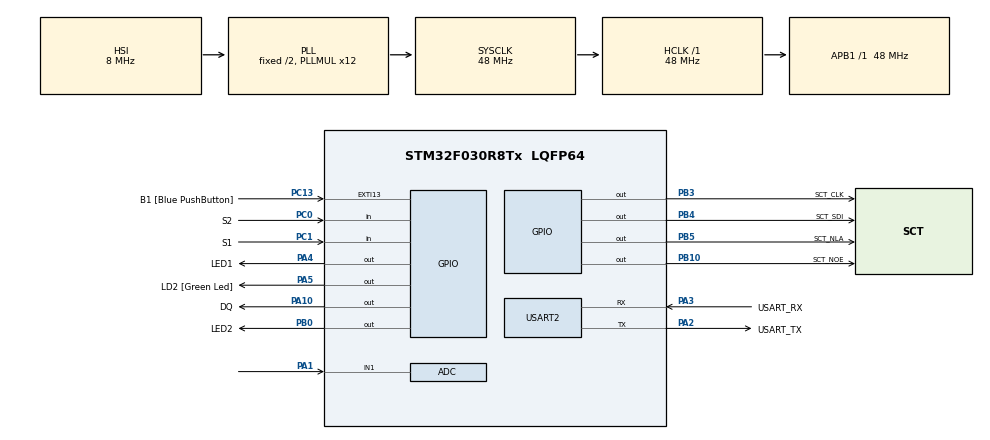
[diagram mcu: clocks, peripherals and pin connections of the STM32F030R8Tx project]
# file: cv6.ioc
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Mcu.Family=STM32F0
Mcu.Name=STM32F030R8Tx
Mcu.Package=LQFP64
PA1.Mode=IN1
PA1.Signal=ADC_IN1
PA10.GPIO_Label=DQ
PA10.GPIO_ModeDefaultOutputPP=GPIO_MODE_OUTPUT_OD
PA10.GPIO_PuPd=GPIO_NOPULL
PA10.PinState=GPIO_PIN_SET
PA10.Signal=GPIO_Output
PA13.GPIO_Label=TMS
PA13.Mode=Serial_Wire
PA13.Signal=SYS_SWDIO
PA14.GPIO_Label=TCK
PA14.Mode=Serial_Wire
PA14.Signal=SYS_SWCLK
PA2.GPIO_Label=USART_TX
PA2.GPIO_Mode=GPIO_MODE_AF_PP
PA2.GPIO_PuPd=GPIO_NOPULL
PA2.GPIO_Speed=GPIO_SPEED_FREQ_LOW
PA2.Mode=Asynchronous
PA2.Signal=USART2_TX
PA3.GPIO_Label=USART_RX
PA3.GPIO_Mode=GPIO_MODE_AF_PP
PA3.GPIO_PuPd=GPIO_NOPULL
PA3.GPIO_Speed=GPIO_SPEED_FREQ_LOW
PA3.Mode=Asynchronous
PA3.Signal=USART2_RX
PA4.GPIO_Label=LED1 
PA4.Signal=GPIO_Output
PA5.GPIO_Label=LD2 [Green Led]
PA5.GPIO_Mode=GPIO_MODE_OUTPUT_PP
PA5.GPIO_PuPd=GPIO_NOPULL
PA5.GPIO_Speed=GPIO_SPEED_FREQ_LOW
PA5.Signal=GPIO_Output
PB0.GPIO_Label=LED2
PB0.Signal=GPIO_Output
PB10.GPIO_Label=SCT_NOE
PB10.Signal=GPIO_Output
PB3.GPIO_Label=SCT_CLK
PB3.Signal=GPIO_Output
PB4.GPIO_Label=SCT_SDI
PB4.Signal=GPIO_Output
PB5.GPIO_Label=SCT_NLA
PB5.Signal=GPIO_Output
PC0.GPIO_Label=S2
PC0.GPIO_PuPd=GPIO_PULLUP
PC0.Signal=GPIO_Input
PC1.GPIO_Label=S1
PC1.GPIO_PuPd=GPIO_PULLUP
PC1.Signal=GPIO_Input
PC13.GPIO_Label=B1 [Blue PushButton]
PC13.GPIO_ModeDefaultEXTI=GPIO_MODE_IT_FALLING
PC13.Signal=GPXTI13
PC14-OSC32_IN.Mode=LSE-External-Oscillator
PC14-OSC32_IN.Signal=RCC_OSC32_IN
PC15-OSC32_OUT.Mode=LSE-External-Oscillator
PC15-OSC32_OUT.Signal=RCC_OSC32_OUT
PF0-OSC_IN.Mode=HSE-External-Clock-Source
PF0-OSC_IN.Signal=RCC_OSC_IN
PF1-OSC_OUT.Signal=RCC_OSC_OUT
ProjectManager.HeapSize=0x200
ProjectManager.StackSize=0x400
ProjectManager.TargetToolchain=STM32CubeIDE
RCC.AHBFreq_Value=48000000
RCC.APB1Freq_Value=48000000
RCC.APB1TimFreq_Value=48000000
RCC.HCLKFreq_Value=48000000
RCC.PLLMUL=RCC_PLL_MUL12
RCC.SYSCLKFreq_VALUE=48000000
RCC.SYSCLKSource=RCC_SYSCLKSOURCE_PLLCLK
USART2.VirtualMode-Asynchronous=VM_ASYNC
board=NUCLEO-F030R8

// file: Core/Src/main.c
/* USER CODE BEGIN Header */
/**
 ******************************************************************************
 * @file           : main.c
 * @brief          : Main program body
 ******************************************************************************
 * @attention
 *
 * Copyright (c) 2024 STMicroelectronics.
 * All rights reserved.
 *
 * This software is licensed under terms that can be found in the LICENSE file
 * in the root directory of this software component.
 * If no LICENSE file comes with this software, it is provided AS-IS.
 *
 ******************************************************************************
 */
/* USER CODE END Header */
#include "main.h"

/* USER CODE BEGIN Includes */
#include "1wire.h"
#include "sct.h"
/* USER CODE END Includes */

/* USER CODE BEGIN PD */
#define SAMPLE_TIME     5
#define TIME_WAIT     750
#define TIME_WAIT_DS  300
/* USER CODE END PD */

ADC_HandleTypeDef hadc;

UART_HandleTypeDef huart2;

/* USER CODE BEGIN PV */
static const int16_t data[] = {
#include "data.dlm"
};

static enum { SHOW_NTC, SHOW_DS} state = SHOW_NTC;
/* USER CODE END PV */

void SystemClock_Config(void);
static void MX_GPIO_Init(void);
static void MX_USART2_UART_Init(void);
static void MX_ADC_Init(void);

/* USER CODE BEGIN 0 */
static void button1_reg(void) {
	static uint32_t last_button_tick;
	uint32_t tick = HAL_GetTick();

	// Sampling button
	if (tick > last_button_tick + SAMPLE_TIME) {

		last_button_tick = tick;
		// Enter every 5ms
		static uint16_t debounce = 0xFFFF;

		uint32_t read_s1 = HAL_GPIO_ReadPin(S1_GPIO_Port, S1_Pin);

		debounce = debounce << 1;
		if (read_s1) debounce |= 0x0001;

		if (debounce == 0x8000) {
			state = SHOW_NTC;
			HAL_GPIO_WritePin(LED2_GPIO_Port, LED2_Pin, 1);
			HAL_GPIO_WritePin(LED1_GPIO_Port, LED1_Pin, 0);
		}
	}
}

static void button2_reg(void) {
	static uint32_t last_button_tick;
	uint32_t tick = HAL_GetTick();

	// Sampling button
	if (tick > last_button_tick + SAMPLE_TIME) {

		last_button_tick = tick;
		// Enter every 5ms
		static uint16_t debounce = 0xFFFF;

		uint32_t read_s2 = HAL_GPIO_ReadPin(S2_GPIO_Port, S2_Pin);

		debounce = debounce << 1;
		if (read_s2) debounce |= 0x0001;

		if (debounce == 0x8000) {
			state = SHOW_DS;
			HAL_GPIO_WritePin(LED2_GPIO_Port, LED2_Pin, 0);
			HAL_GPIO_WritePin(LED1_GPIO_Port, LED1_Pin, 1);
		}
	}
}
/* USER CODE END 0 */

int main(void)
{

	/* MCU Configuration--------------------------------------------------------*/

	/* Reset of all peripherals, Initializes the Flash interface and the Systick. */
	HAL_Init();

	/* Configure the system clock */
	SystemClock_Config();

	/* Initialize all configured peripherals */
	MX_GPIO_Init();
	MX_USART2_UART_Init();
	MX_ADC_Init();
	/* USER CODE BEGIN 2 */
	OWInit();
	sct_init();

	HAL_ADCEx_Calibration_Start(&hadc);
	HAL_ADC_Start(&hadc);

	HAL_GPIO_WritePin(LED1_GPIO_Port, LED1_Pin, 1);
	HAL_GPIO_WritePin(LED2_GPIO_Port, LED2_Pin, 0);
	/* USER CODE END 2 */

	/* Infinite loop */
	/* USER CODE BEGIN WHILE */
	while (1)
	{
		static uint32_t conv_time;
		uint32_t tick = HAL_GetTick();
		button1_reg();
		button2_reg();

		if (tick > conv_time) {
			switch (state) {
			case SHOW_NTC:
				if (tick > conv_time) {
					OWConvertAll();
					int16_t value;
					if(OWReadTemperature(&value)) {
						sct_value(value / 10, 0);
						conv_time = tick + TIME_WAIT;
					}
				}
				break;

			case SHOW_DS:
				if (tick > conv_time) {
					uint32_t result;
					result = HAL_ADC_GetValue(&hadc);
					sct_value(data[result], 0);
					conv_time = tick + TIME_WAIT_DS;
				}
				break;
			}
		}

		/* USER CODE END WHILE */

	}
}

void SystemClock_Config(void)
{
	RCC_OscInitTypeDef RCC_OscInitStruct = {0};
	RCC_ClkInitTypeDef RCC_ClkInitStruct = {0};

	/** Initializes the RCC Oscillators according to the specified parameters
	 * in the RCC_OscInitTypeDef structure.
	 */
	RCC_OscInitStruct.OscillatorType = RCC_OSCILLATORTYPE_HSI|RCC_OSCILLATORTYPE_HSI14;
	RCC_OscInitStruct.HSIState = RCC_HSI_ON;
	RCC_OscInitStruct.HSI14State = RCC_HSI14_ON;
	RCC_OscInitStruct.HSICalibrationValue = RCC_HSICALIBRATION_DEFAULT;
	RCC_OscInitStruct.HSI14CalibrationValue = 16;
	RCC_OscInitStruct.PLL.PLLState = RCC_PLL_ON;
	RCC_OscInitStruct.PLL.PLLSource = RCC_PLLSOURCE_HSI;
	RCC_OscInitStruct.PLL.PLLMUL = RCC_PLL_MUL12;
	RCC_OscInitStruct.PLL.PREDIV = RCC_PREDIV_DIV1;
	if (HAL_RCC_OscConfig(&RCC_OscInitStruct) != HAL_OK)
	{
		Error_Handler();
	}

	/** Initializes the CPU, AHB and APB buses clocks
	 */
	RCC_ClkInitStruct.ClockType = RCC_CLOCKTYPE_HCLK|RCC_CLOCKTYPE_SYSCLK
			|RCC_CLOCKTYPE_PCLK1;
	RCC_ClkInitStruct.SYSCLKSource = RCC_SYSCLKSOURCE_PLLCLK;
	RCC_ClkInitStruct.AHBCLKDivider = RCC_SYSCLK_DIV1;
	RCC_ClkInitStruct.APB1CLKDivider = RCC_HCLK_DIV1;

	if (HAL_RCC_ClockConfig(&RCC_ClkInitStruct, FLASH_LATENCY_1) != HAL_OK)
	{
		Error_Handler();
	}
}

static void MX_ADC_Init(void)
{

	ADC_ChannelConfTypeDef sConfig = {0};

	/** Configure the global features of the ADC (Clock, Resolution, Data Alignment and number of conversion)
	 */
	hadc.Instance = ADC1;
	hadc.Init.ClockPrescaler = ADC_CLOCK_ASYNC_DIV1;
	hadc.Init.Resolution = ADC_RESOLUTION_10B;
	hadc.Init.DataAlign = ADC_DATAALIGN_RIGHT;
	hadc.Init.ScanConvMode = ADC_SCAN_DIRECTION_FORWARD;
	hadc.Init.EOCSelection = ADC_EOC_SINGLE_CONV;
	hadc.Init.LowPowerAutoWait = DISABLE;
	hadc.Init.LowPowerAutoPowerOff = DISABLE;
	hadc.Init.ContinuousConvMode = ENABLE;
	hadc.Init.DiscontinuousConvMode = DISABLE;
	hadc.Init.ExternalTrigConv = ADC_SOFTWARE_START;
	hadc.Init.ExternalTrigConvEdge = ADC_EXTERNALTRIGCONVEDGE_NONE;
	hadc.Init.DMAContinuousRequests = DISABLE;
	hadc.Init.Overrun = ADC_OVR_DATA_OVERWRITTEN;
	if (HAL_ADC_Init(&hadc) != HAL_OK)
	{
		Error_Handler();
	}

	/** Configure for the selected ADC regular channel to be converted.
	 */
	sConfig.Channel = ADC_CHANNEL_1;
	sConfig.Rank = ADC_RANK_CHANNEL_NUMBER;
	sConfig.SamplingTime = ADC_SAMPLETIME_1CYCLE_5;
	if (HAL_ADC_ConfigChannel(&hadc, &sConfig) != HAL_OK)
	{
		Error_Handler();
	}

}

static void MX_USART2_UART_Init(void)
{

	huart2.Instance = USART2;
	huart2.Init.BaudRate = 38400;
	huart2.Init.WordLength = UART_WORDLENGTH_8B;
	huart2.Init.StopBits = UART_STOPBITS_1;
	huart2.Init.Parity = UART_PARITY_NONE;
	huart2.Init.Mode = UART_MODE_TX_RX;
	huart2.Init.HwFlowCtl = UART_HWCONTROL_NONE;
	huart2.Init.OverSampling = UART_OVERSAMPLING_16;
	huart2.Init.OneBitSampling = UART_ONE_BIT_SAMPLE_DISABLE;
	huart2.AdvancedInit.AdvFeatureInit = UART_ADVFEATURE_NO_INIT;
	if (HAL_UART_Init(&huart2) != HAL_OK)
	{
		Error_Handler();
	}

}

static void MX_GPIO_Init(void)
{
	GPIO_InitTypeDef GPIO_InitStruct = {0};

	/* GPIO Ports Clock Enable */
	__HAL_RCC_GPIOC_CLK_ENABLE();
	__HAL_RCC_GPIOF_CLK_ENABLE();
	__HAL_RCC_GPIOA_CLK_ENABLE();
	__HAL_RCC_GPIOB_CLK_ENABLE();

	/*Configure GPIO pin Output Level */
	HAL_GPIO_WritePin(GPIOA, LED1_Pin|LD2_Pin, GPIO_PIN_RESET);

	/*Configure GPIO pin Output Level */
	HAL_GPIO_WritePin(GPIOB, LED2_Pin|SCT_NOE_Pin|SCT_CLK_Pin|SCT_SDI_Pin
			|SCT_NLA_Pin, GPIO_PIN_RESET);

	/*Configure GPIO pin Output Level */
	HAL_GPIO_WritePin(DQ_GPIO_Port, DQ_Pin, GPIO_PIN_SET);

	/*Configure GPIO pin : B1_Pin */
	GPIO_InitStruct.Pin = B1_Pin;
	GPIO_InitStruct.Mode = GPIO_MODE_IT_FALLING;
	GPIO_InitStruct.Pull = GPIO_NOPULL;
	HAL_GPIO_Init(B1_GPIO_Port, &GPIO_InitStruct);

	/*Configure GPIO pins : S2_Pin S1_Pin */
	GPIO_InitStruct.Pin = S2_Pin|S1_Pin;
	GPIO_InitStruct.Mode = GPIO_MODE_INPUT;
	GPIO_InitStruct.Pull = GPIO_PULLUP;
	HAL_GPIO_Init(GPIOC, &GPIO_InitStruct);

	/*Configure GPIO pins : LED1_Pin LD2_Pin */
	GPIO_InitStruct.Pin = LED1_Pin|LD2_Pin;
	GPIO_InitStruct.Mode = GPIO_MODE_OUTPUT_PP;
	GPIO_InitStruct.Pull = GPIO_NOPULL;
	GPIO_InitStruct.Speed = GPIO_SPEED_FREQ_LOW;
	HAL_GPIO_Init(GPIOA, &GPIO_InitStruct);

	/*Configure GPIO pins : LED2_Pin SCT_NOE_Pin SCT_CLK_Pin SCT_SDI_Pin
                           SCT_NLA_Pin */
	GPIO_InitStruct.Pin = LED2_Pin|SCT_NOE_Pin|SCT_CLK_Pin|SCT_SDI_Pin
			|SCT_NLA_Pin;
	GPIO_InitStruct.Mode = GPIO_MODE_OUTPUT_PP;
	GPIO_InitStruct.Pull = GPIO_NOPULL;
	GPIO_InitStruct.Speed = GPIO_SPEED_FREQ_LOW;
	HAL_GPIO_Init(GPIOB, &GPIO_InitStruct);

	/*Configure GPIO pin : DQ_Pin */
	GPIO_InitStruct.Pin = DQ_Pin;
	GPIO_InitStruct.Mode = GPIO_MODE_OUTPUT_OD;
	GPIO_InitStruct.Pull = GPIO_NOPULL;
	GPIO_InitStruct.Speed = GPIO_SPEED_FREQ_LOW;
	HAL_GPIO_Init(DQ_GPIO_Port, &GPIO_InitStruct);

}

void Error_Handler(void)
{
	__disable_irq();
	while (1)
	{
	}
}
